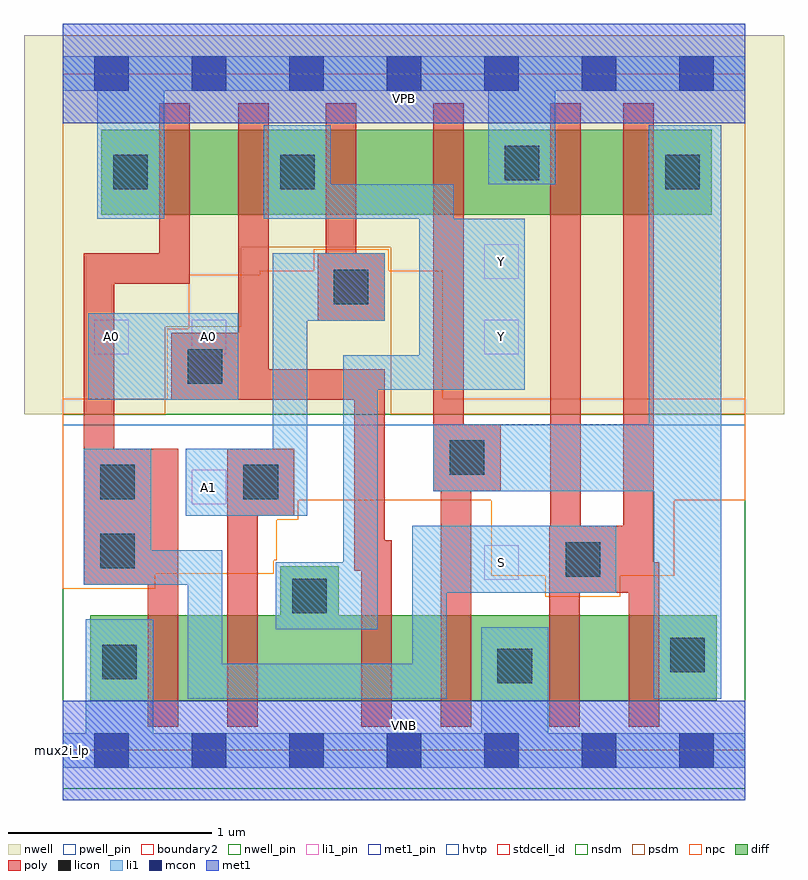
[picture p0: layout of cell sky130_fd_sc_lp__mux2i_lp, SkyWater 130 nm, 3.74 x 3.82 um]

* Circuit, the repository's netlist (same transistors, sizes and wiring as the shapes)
* Copyright 2020 The SkyWater PDK Authors
*
* Licensed under the Apache License, Version 2.0 (the "License");
* you may not use this file except in compliance with the License.
* You may obtain a copy of the License at
*
*     https://www.apache.org/licenses/LICENSE-2.0
*
* Unless required by applicable law or agreed to in writing, software
* distributed under the License is distributed on an "AS IS" BASIS,
* WITHOUT WARRANTIES OR CONDITIONS OF ANY KIND, either express or implied.
* See the License for the specific language governing permissions and
* limitations under the License.
*
* SPDX-License-Identifier: Apache-2.0

.SUBCKT sky130_fd_sc_lp__mux2i_lp A0 A1 S VGND VNB VPB VPWR Y
*.PININFO A0:I A1:I S:I VGND:I VNB:I VPB:I VPWR:I Y:O
MI8 Sb S net46 VNB sky130_fd_pr__nfet_01v8 m=1 w=0.42U l=0.15U mult=1 sa=0.265
+ sb=0.265 sd=0.28 area=0.063 perim=1.14
MMNA00 Y A0 smdNA0 VNB sky130_fd_pr__nfet_01v8 m=1 w=0.42U l=0.15U mult=1 sa=0.265
+ sb=0.265 sd=0.28 area=0.063 perim=1.14
MMNA01 smdNA0 Sb VGND VNB sky130_fd_pr__nfet_01v8 m=1 w=0.42U l=0.15U mult=1 sa=0.265
+ sb=0.265 sd=0.28 area=0.063 perim=1.14
MMNA10 Y A1 sndNA1 VNB sky130_fd_pr__nfet_01v8 m=1 w=0.42U l=0.15U mult=1 sa=0.265
+ sb=0.265 sd=0.28 area=0.063 perim=1.14
MMNA11 sndNA1 S VGND VNB sky130_fd_pr__nfet_01v8 m=1 w=0.42U l=0.15U mult=1 sa=0.265
+ sb=0.265 sd=0.28 area=0.063 perim=1.14
MMIN1 net46 S VGND VNB sky130_fd_pr__nfet_01v8 m=1 w=0.42U l=0.15U mult=1 sa=0.265
+ sb=0.265 sd=0.28 area=0.063 perim=1.14
MMPA00 VPWR S sndPS VPB sky130_fd_pr__pfet_01v8_hvt m=1 w=0.42U l=0.15U mult=1
+ sa=0.265 sb=0.265 sd=0.28 area=0.063 perim=1.14
MI7 Sb S net66 VPB sky130_fd_pr__pfet_01v8_hvt m=1 w=0.42U l=0.15U mult=1 sa=0.265
+ sb=0.265 sd=0.28 area=0.063 perim=1.14
MMPA01 sndPS A0 Y VPB sky130_fd_pr__pfet_01v8_hvt m=1 w=0.42U l=0.15U mult=1 sa=0.265
+ sb=0.265 sd=0.28 area=0.063 perim=1.14
MMPA10 VPWR Sb sndPSb VPB sky130_fd_pr__pfet_01v8_hvt m=1 w=0.42U l=0.15U mult=1
+ sa=0.265 sb=0.265 sd=0.28 area=0.063 perim=1.14
MMPA11 sndPSb A1 Y VPB sky130_fd_pr__pfet_01v8_hvt m=1 w=0.42U l=0.15U mult=1 sa=0.265
+ sb=0.265 sd=0.28 area=0.063 perim=1.14
MMIP1 net66 S VPWR VPB sky130_fd_pr__pfet_01v8_hvt m=1 w=0.42U l=0.15U mult=1 sa=0.265
+ sb=0.265 sd=0.28 area=0.063 perim=1.14
.ENDS sky130_fd_sc_lp__mux2i_lp

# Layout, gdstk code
import gdstk
lib = gdstk.Library(unit=1e-6, precision=1e-09)
def R(c, l, rs):  # rectangles x0, y0, x1, y1
    for r in rs: c.add(gdstk.rectangle(r[:2], r[2:], *l))
def A(c, l, x, y, w, h, nx, ny, dx, dy):  # array of equal rectangles
    R(c, l, [(x+i*dx, y+j*dy, x+i*dx+w, y+j*dy+h) for i in range(nx) for j in range(ny)])
def P(c, l, *ps):  # polygons
    for p in ps: c.add(gdstk.Polygon(p, *l))
nwell_pin = (64, 16)
nwell = (64, 20)
diff = (65, 20)
poly = (66, 20)
licon = (66, 44)
li1_pin = (67, 16)
li1 = (67, 20)
mcon = (67, 44)
met1_pin = (68, 16)
met1 = (68, 20)
hvtp = (78, 44)
stdcell_id = (81, 4)
nsdm = (93, 44)
psdm = (94, 20)
npc = (95, 20)
pwell_pin = (122, 16)
boundary2 = (236, 0)

sky130_fd_sc_lp__mux2i_l = lib.new_cell('sky130_fd_sc_lp__mux2i_lp')
R(sky130_fd_sc_lp__mux2i_l, nwell_pin, [(0,3.085,3.36,3.33)])
R(sky130_fd_sc_lp__mux2i_l, nwell, [(-0.19,1.655,3.55,3.52)])
R(sky130_fd_sc_lp__mux2i_l, diff, [(0.19,2.635,3.195,3.055)])
P(sky130_fd_sc_lp__mux2i_l, diff, [(3.22,0.665),(1.36,0.665),(1.36,0.905),(1.07,0.905),(1.07,0.665),(0.135,0.665),(0.135,0.245),(3.22,0.245)])
P(sky130_fd_sc_lp__mux2i_l, poly, [(0.625,3.185),(0.475,3.185),(0.475,2.445),(0.105,2.445),(0.105,0.815),(0.42,0.815),(0.42,0.115),(0.57,0.115),(0.57,1.485),(0.255,1.485),(0.255,2.295),(0.625,2.295)],
  [(1.14,1.485),(0.81,1.485),(0.81,0.115),(0.96,0.115),(0.96,1.155),(1.14,1.155)],
  [(1.585,2.445),(1.445,2.445),(1.445,3.185),(1.295,3.185),(1.295,2.445),(1.255,2.445),(1.255,2.115),(1.585,2.115)],
  [(1.62,1.035),(1.585,1.035),(1.585,1.875),(1.015,1.875),(1.015,3.185),(0.865,3.185),(0.865,2.055),(0.535,2.055),(0.535,1.725),(1.435,1.725),(1.435,0.885),(1.47,0.885),(1.47,0.115),(1.62,0.115)],
  [(2.155,1.605),(1.975,1.605),(1.975,3.185),(1.825,3.185),(1.825,1.275),(1.86,1.275),(1.86,0.115),(2.01,0.115),(2.01,1.275),(2.155,1.275)],
  [(2.935,0.925),(2.91,0.925),(2.91,3.185),(2.76,3.185),(2.76,1.105),(2.55,1.105),(2.55,3.185),(2.4,3.185),(2.4,1.105),(2.395,1.105),(2.395,0.115),(2.545,0.115),(2.545,0.775),(2.785,0.775),(2.785,0.115),(2.935,0.115)])
R(sky130_fd_sc_lp__mux2i_l, licon, [(2.14,0.33,2.31,0.5), (0.195,0.35,0.365,0.52), (2.99,0.385,3.16,0.555), (1.13,0.675,1.3,0.845), (2.475,0.855,2.645,1.025), (0.185,0.895,0.355,1.065), (0.185,1.235,0.355,1.405), (0.89,1.235,1.06,1.405), (1.905,1.355,2.075,1.525), (0.615,1.805,0.785,1.975), (1.335,2.195,1.505,2.365), (0.25,2.76,0.42,2.93), (1.07,2.76,1.24,2.93), (2.965,2.76,3.135,2.93), (2.175,2.805,2.345,2.975)])
R(sky130_fd_sc_lp__mux2i_l, li1_pin, [(2.075,0.84,2.245,1.01), (0.635,1.21,0.805,1.38), (0.155,1.95,0.325,2.12), (0.635,1.95,0.805,2.12), (2.075,1.95,2.245,2.12), (2.075,2.32,2.245,2.49)])
R(sky130_fd_sc_lp__mux2i_l, li1, [(0.125,1.725,0.865,2.15)])
P(sky130_fd_sc_lp__mux2i_l, li1, [(0.17,2.615),(0.17,3.245),(0,3.245),(0,3.415),(3.36,3.415),(3.36,3.245),(2.425,3.245),(2.425,2.785),(2.095,2.785),(2.095,3.245),(0.5,3.245),(0.5,2.615)],
  [(2.06,0.085),(2.06,0.605),(2.39,0.605),(2.39,0.085),(3.36,0.085),(3.36,-0.085),(0,-0.085),(0,0.085),(0.115,0.085),(0.115,0.645),(0.445,0.645),(0.445,0.085)],
  [(1.89,0.775),(1.89,0.255),(0.615,0.255),(0.615,0.815),(0.105,0.815),(0.105,1.485),(0.435,1.485),(0.435,0.985),(0.785,0.985),(0.785,0.425),(1.72,0.425),(1.72,1.105),(2.725,1.105),(2.725,0.775)],
  [(2.885,1.605),(2.885,3.075),(3.24,3.075),(3.24,0.255),(2.91,0.255),(2.91,1.275),(1.825,1.275),(1.825,1.605)],
  [(1.755,1.945),(1.755,2.615),(0.99,2.615),(0.99,3.075),(1.32,3.075),(1.32,2.785),(1.925,2.785),(1.925,2.615),(2.275,2.615),(2.275,1.775),(1.55,1.775),(1.55,0.595),(1.05,0.595),(1.05,0.925),(1.38,0.925),(1.38,1.945)],
  [(1.035,1.485),(1.035,2.445),(1.585,2.445),(1.585,2.115),(1.205,2.115),(1.205,1.155),(0.605,1.155),(0.605,1.485)])
A(sky130_fd_sc_lp__mux2i_l, mcon, 0.155, -0.085, 0.17, 0.17, 7, 2, 0.48, 3.33)
R(sky130_fd_sc_lp__mux2i_l, met1_pin, [(0,0,3.36,0.245), (0,3.085,3.36,3.33)])
R(sky130_fd_sc_lp__mux2i_l, met1, [(0,-0.245,3.36,0.245), (0,3.085,3.36,3.575)])
R(sky130_fd_sc_lp__mux2i_l, hvtp, [(0,1.6,3.36,3.33)])
R(sky130_fd_sc_lp__mux2i_l, stdcell_id, [(0,0,3.36,3.33)])
R(sky130_fd_sc_lp__mux2i_l, nsdm, [(0,-0.19,3.36,1.655)])
P(sky130_fd_sc_lp__mux2i_l, psdm, [(3.36,3.52),(0,3.52),(0,1.655),(0.505,1.655),(0.505,2.085),(0.88,2.085),(0.88,2.475),(1.615,2.475),(1.615,1.655),(3.36,1.655)])
P(sky130_fd_sc_lp__mux2i_l, npc, [(3.36,1.73),(1.87,1.73),(1.87,2.36),(1.605,2.36),(1.605,2.465),(1.235,2.465),(1.235,2.36),(0.97,2.36),(0.97,2.34),(0.62,2.34),(0.62,2.075),(0.515,2.075),(0.515,1.73),(0,1.73),(0,0.795),(0.455,0.795),(0.455,0.87),(1.04,0.87),(1.04,0.935),(1.055,0.935),(1.055,1.135),(1.16,1.135),(1.16,1.23),(2.11,1.23),(2.11,0.86),(2.375,0.86),(2.375,0.755),(2.745,0.755),(2.745,0.86),(3.01,0.86),(3.01,1.23),(3.36,1.23)])
R(sky130_fd_sc_lp__mux2i_l, pwell_pin, [(0,0,3.36,0.245)])
R(sky130_fd_sc_lp__mux2i_l, boundary2, [(0,0,3.36,3.33)])
sky130_fd_sc_lp__mux2i_l.add(gdstk.Label('VNB', (1.68,0.123), layer=64, texttype=59))
sky130_fd_sc_lp__mux2i_l.add(gdstk.Label('VPB', (1.68,3.208), layer=64, texttype=5))
sky130_fd_sc_lp__mux2i_l.add(gdstk.Label('mux2i_lp', (0,0), layer=83, texttype=44))
sky130_fd_sc_lp__mux2i_l.add(gdstk.Label('VPWR', (1.68,3.208), layer=68, texttype=5))
sky130_fd_sc_lp__mux2i_l.add(gdstk.Label('VGND', (1.68,0.123), layer=68, texttype=5))
sky130_fd_sc_lp__mux2i_l.add(gdstk.Label('S', (2.16,0.925), layer=67, texttype=5))
sky130_fd_sc_lp__mux2i_l.add(gdstk.Label('A0', (0.24,2.035), layer=67, texttype=5))
sky130_fd_sc_lp__mux2i_l.add(gdstk.Label('A0', (0.72,2.035), layer=67, texttype=5))
sky130_fd_sc_lp__mux2i_l.add(gdstk.Label('A1', (0.72,1.295), layer=67, texttype=5))
sky130_fd_sc_lp__mux2i_l.add(gdstk.Label('Y', (2.16,2.035), layer=67, texttype=5))
sky130_fd_sc_lp__mux2i_l.add(gdstk.Label('Y', (2.16,2.405), layer=67, texttype=5))

lib.write_gds('sky130_fd_sc_lp__mux2i_lp.gds')
